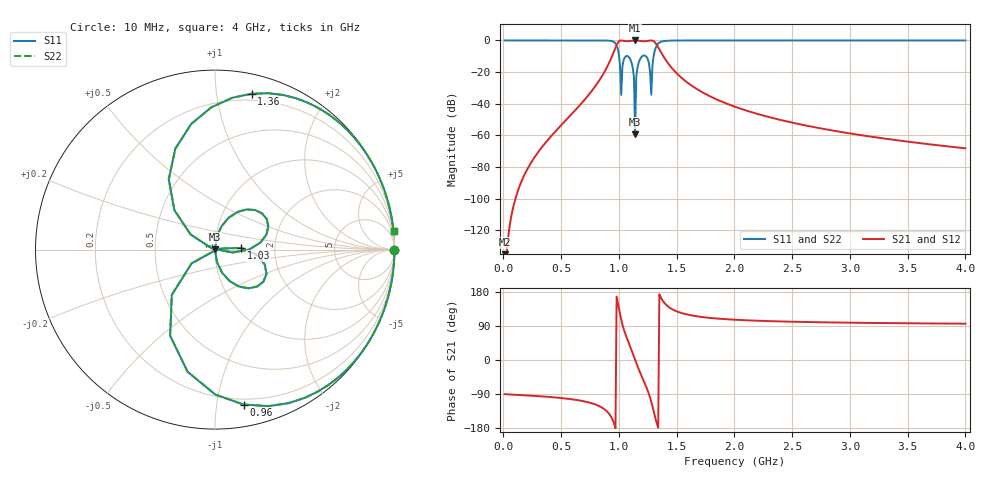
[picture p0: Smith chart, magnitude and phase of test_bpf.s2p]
! AWR Design Environment (18789) Tue Jul  1 16:58:32 2025
! Document = 'bpf'
! nPorts: 2, nXvals: 400
# GHz S DB R 50
!Freq DBS11 AngS11 DBS21 AngS21 DBS12 AngS12 DBS22 AngS22
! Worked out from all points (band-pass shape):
!   400 points, 10 MHz to 4 GHz, reference 50 ohm
!   highest |S21| = 0.00 dB at 1.14 GHz (marker M1); lowest = -161.1 dB at 10 MHz (marker M2)
!   |S21| within 3 dB of the highest: 979.4 MHz to 1.329 GHz (350 MHz wide, 30.3 % of centre)
!   lowest |S11| = -59.3 dB at 1.14 GHz (marker M3), VSWR 1.00, Z = 50 + j0.108 ohm
!   |S11| at or under -10 dB: 1.001 GHz to 1.06 GHz (58.51 MHz wide, 5.68 % of centre); 1.076 GHz to 1.202 GHz (125.5 MHz wide, 11 % of centre); 1.233 GHz to 1.3 GHz (66.77 MHz wide, 5.27 % of centre)
!   |S22| runs from -59.3 to 0.0 dB; largest |S21 - S12| = 0
!   S11 on the Smith chart (normalised r, x): 10 MHz: open; 960 MHz: 0.16, -1.19; 1.03 GHz: 1.35, +0.03; 1.36 GHz: 0.15, +1.25; 4 GHz: 0, +19
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0.01  -0.00 -0.2  -161.14 -90.2  -161.14 -90.2  -0.00 -0.2
0.22  -0.00 -3.8  -79.59 -93.8  -79.59 -93.8  -0.00 -3.8
0.68  -0.00 -18.0  -39.36 -108.0  -39.36 -108.0  -0.00 -18.0
0.96  -1.13 -79.6  -6.39 -169.6  -6.39 -169.6  -1.13 -79.6
1  -9.15 -133.6  -0.56 136.4  -0.56 136.4  -9.15 -133.6
1.02  -34.41 16.1  -0.00 106.1  -0.00 106.1  -34.41 16.1
1.03  -16.62 3.7  -0.10 93.7  -0.10 93.7  -16.62 3.7
1.12  -17.41 -73.0  -0.08 17.0  -0.08 17.0  -17.41 -73.0
1.13  -23.30 -81.2  -0.02 8.8  -0.02 8.8  -23.30 -81.2
1.14  -59.31 90.6  -0.00 0.6  -0.00 0.6  -59.31 90.6
1.15  -23.08 82.4  -0.02 -7.6  -0.02 -7.6  -23.08 82.4
1.17  -14.24 66.7  -0.17 -23.3  -0.17 -23.3  -14.24 66.7
1.25  -11.87 8.6  -0.29 -81.4  -0.29 -81.4  -11.87 8.6
1.28  -34.30 159.8  -0.00 -110.2  -0.00 -110.2  -34.30 159.8
1.3  -10.01 135.8  -0.46 -134.2  -0.46 -134.2  -10.01 135.8
1.34  -2.01 91.4  -4.31 -178.6  -4.31 -178.6  -2.01 91.4
1.36  -0.99 76.8  -6.91 166.8  -6.91 166.8  -0.99 76.8
1.52  -0.03 36.1  -22.18 126.1  -22.18 126.1  -0.03 36.1
2.01  -0.00 16.2  -42.02 106.2  -42.02 106.2  -0.00 16.2
2.67  -0.00 10.0  -54.49 100.0  -54.49 100.0  -0.00 10.0
3.34  -0.00 7.3  -62.40 97.3  -62.40 97.3  -0.00 7.3
4  -0.00 5.9  -68.15 95.9  -68.15 95.9  -0.00 5.9
